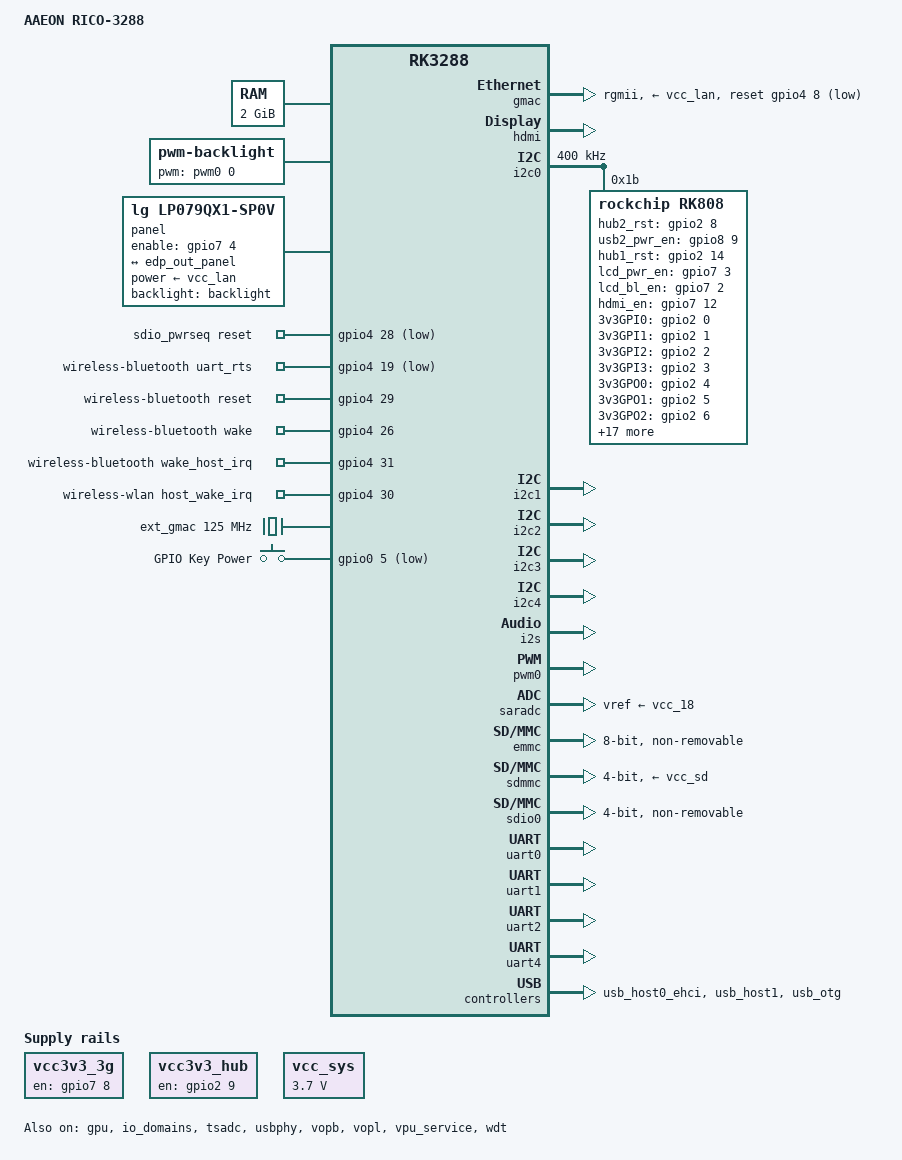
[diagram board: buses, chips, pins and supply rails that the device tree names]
/*
 * This file is dual-licensed: you can use it either under the terms
 * of the GPL or the X11 license, at your option. Note that this dual
 * licensing only applies to this file, and not this project as a
 * whole.
 *
 *  a) This file is free software; you can redistribute it and/or
 *     modify it under the terms of the GNU General Public License as
 *     published by the Free Software Foundation; either version 2 of the
 *     License, or (at your option) any later version.
 *
 *     This file is distributed in the hope that it will be useful,
 *     but WITHOUT ANY WARRANTY; without even the implied warranty of
 *     MERCHANTABILITY or FITNESS FOR A PARTICULAR PURPOSE.  See the
 *     GNU General Public License for more details.
 *
 * Or, alternatively,
 *
 *  b) Permission is hereby granted, free of charge, to any person
 *     obtaining a copy of this software and associated documentation
 *     files (the "Software"), to deal in the Software without
 *     restriction, including without limitation the rights to use,
 *     copy, modify, merge, publish, distribute, sublicense, and/or
 *     sell copies of the Software, and to permit persons to whom the
 *     Software is furnished to do so, subject to the following
 *     conditions:
 *
 *     The above copyright notice and this permission notice shall be
 *     included in all copies or substantial portions of the Software.
 *
 *     THE SOFTWARE IS PROVIDED "AS IS", WITHOUT WARRANTY OF ANY KIND,
 *     EXPRESS OR IMPLIED, INCLUDING BUT NOT LIMITED TO THE WARRANTIES
 *     OF MERCHANTABILITY, FITNESS FOR A PARTICULAR PURPOSE AND
 *     NONINFRINGEMENT. IN NO EVENT SHALL THE AUTHORS OR COPYRIGHT
 *     HOLDERS BE LIABLE FOR ANY CLAIM, DAMAGES OR OTHER LIABILITY,
 *     WHETHER IN AN ACTION OF CONTRACT, TORT OR OTHERWISE, ARISING
 *     FROM, OUT OF OR IN CONNECTION WITH THE SOFTWARE OR THE USE OR
 *     OTHER DEALINGS IN THE SOFTWARE.
 */

/dts-v1/;

#include <dt-bindings/clock/rockchip,rk808.h>
#include "rk3288.dtsi"
#include <dt-bindings/pwm/pwm.h>

/ {
	model = "AAEON RICO-3288";
	compatible = "rockchip,rk3288-fennec", "rockchip,rk3288";

	memory {
		reg = <0x0 0x0 0x0 0x80000000>;
		device_type = "memory";
	};

	backlight: backlight {
		compatible = "pwm-backlight";
		brightness-levels = <
			  0   1   2   3   4   5   6   7
			  8   9  10  11  12  13  14  15
			 16  17  18  19  20  21  22  23
			 24  25  26  27  28  29  30  31
			 32  33  34  35  36  37  38  39
			 40  41  42  43  44  45  46  47
			 48  49  50  51  52  53  54  55
			 56  57  58  59  60  61  62  63
			 64  65  66  67  68  69  70  71
			 72  73  74  75  76  77  78  79
			 80  81  82  83  84  85  86  87
			 88  89  90  91  92  93  94  95
			 96  97  98  99 100 101 102 103
			104 105 106 107 108 109 110 111
			112 113 114 115 116 117 118 119
			120 121 122 123 124 125 126 127
			128 129 130 131 132 133 134 135
			136 137 138 139 140 141 142 143
			144 145 146 147 148 149 150 151
			152 153 154 155 156 157 158 159
			160 161 162 163 164 165 166 167
			168 169 170 171 172 173 174 175
			176 177 178 179 180 181 182 183
			184 185 186 187 188 189 190 191
			192 193 194 195 196 197 198 199
			200 201 202 203 204 205 206 207
			208 209 210 211 212 213 214 215
			216 217 218 219 220 221 222 223
			224 225 226 227 228 229 230 231
			232 233 234 235 236 237 238 239
			240 241 242 243 244 245 246 247
			248 249 250 251 252 253 254 255>;
		default-brightness-level = <128>;
		//enable-gpios = <&gpio7 2 GPIO_ACTIVE_HIGH>;
		pinctrl-names = "default";
		pinctrl-0 = <&bl_en>;
		pwms = <&pwm0 0 1000000 PWM_POLARITY_INVERTED>;
	};

	panel: panel {
		compatible ="lg,lp079qx1-sp0v", "simple-panel";
		backlight = <&backlight>;
		enable-gpios = <&gpio7 4 GPIO_ACTIVE_HIGH>;
		pinctrl-0 = <&lcd_cs>;
		ports {
			panel_in: port {
				panel_in_edp: endpoint {
					remote-endpoint = <&edp_out_panel>;
				};
			};
		};
	};

	vcc3v3_3g: vcc3v3-3g-regulator {
		compatible = "regulator-fixed";
		enable-active-high;
		gpio = <&gpio7 8 GPIO_ACTIVE_HIGH>;
		pinctrl-names = "default";
		pinctrl-0 = <&pwr_3g>;
		regulator-name = "vcc3v3_3g";
		regulator-always-on;
	};

	vcc3v3_hub: vcc3v3-hub {
		compatible = "regulator-fixed";
		enable-active-high;
		gpio = <&gpio2 9 GPIO_ACTIVE_HIGH>;
		pinctrl-names = "default";
		pinctrl-0 = <&phy_pwr_en>;
		regulator-name = "vcc3v3_hub";
		regulator-always-on;
	};

	sdio_pwrseq: sdio-pwrseq {
		compatible = "mmc-pwrseq-simple";
		clocks = <&rk808 RK808_CLKOUT1>;
		clock-names = "ext_clock";
		pinctrl-names = "default";
		pinctrl-0 = <&wifi_enable_h>;

		/*
		 * On the module itself this is one of these (depending
		 * on the actual card populated):
		 * - SDIO_RESET_L_WL_REG_ON
		 * - PDN (power down when low)
		 */
		reset-gpios = <&gpio4 28 GPIO_ACTIVE_LOW>;
	};

	wireless-bluetooth {
		compatible = "bluetooth-platdata";
		uart_rts_gpios = <&gpio4 19 GPIO_ACTIVE_LOW>;
		pinctrl-names = "default", "rts_gpio";
		pinctrl-0 = <&uart0_rts>;
		pinctrl-1 = <&uart0_gpios>;
		BT,reset_gpio    = <&gpio4 29 GPIO_ACTIVE_HIGH>;
		BT,wake_gpio     = <&gpio4 26 GPIO_ACTIVE_HIGH>;
		BT,wake_host_irq = <&gpio4 31 GPIO_ACTIVE_HIGH>;
		status = "okay";
	};

	wireless-wlan {
		compatible = "wlan-platdata";
		rockchip,grf = <&grf>;
		wifi_chip_type = "ap6255";
		sdio_vref = <1800>;
		WIFI,host_wake_irq = <&gpio4 30 GPIO_ACTIVE_HIGH>;
		status = "okay";
	};

	ext_gmac: external-gmac-clock {
		compatible = "fixed-clock";
		clock-frequency = <125000000>;
		clock-output-names = "ext_gmac";
		#clock-cells = <0>;
	};

	usb_control {
		compatible = "rockchip,rk3288-usb-control";

		/*host_drv_gpio = <&gpio0 GPIO_B6 GPIO_ACTIVE_LOW>;*/

		rockchip,remote_wakeup;
		rockchip,usb_irq_wakeup;
	};

	gpio-keys {
		compatible = "gpio-keys";
		#address-cells = <1>;
		#size-cells = <0>;
		autorepeat;

		pinctrl-names = "default";
		pinctrl-0 = <&pwrbtn>;

		button@0 {
			gpios = <&gpio0 5 GPIO_ACTIVE_LOW>;
			linux,code = <116>;
			label = "GPIO Key Power";
			linux,input-type = <1>;
			gpio-key,wakeup = <1>;
			debounce-interval = <100>;
		};
	};

	gpio-dio {
		compatible = "gpio-keys";
		pinctrl-names = "default";
		pinctrl-0 = <&dio>;
	};

	hdmi_sound: hdmi-sound {
		compatible = "simple-audio-card";
		simple-audio-card,format = "i2s";
		simple-audio-card,mclk-fs = <256>;
		simple-audio-card,name = "rockchip,hdmi";
		simple-audio-card,cpu {
			sound-dai = <&i2s>;
		};
		simple-audio-card,codec {
			sound-dai = <&hdmi>;
		};
	};

	vcc_sys: vsys-regulator {
		compatible = "regulator-fixed";
		regulator-name = "vcc_sys";
		regulator-min-microvolt = <3700000>;
		regulator-max-microvolt = <3700000>;
		regulator-always-on;
		regulator-boot-on;
	};

};

&cpu0 {
	cpu0-supply = <&vdd_cpu>;
};

&gmac {
	assigned-clocks = <&cru SCLK_MAC>;
	assigned-clock-parents = <&ext_gmac>;
	clock_in_out = "input";
	pinctrl-names = "default";
	pinctrl-0 = <&rgmii_pins>, <&phy_rst>, <&phy_pmeb>, <&phy_int>;
	phy-supply = <&vcc_lan>;
	phy-mode = "rgmii";
	snps,reset-active-low;
	snps,reset-delays-us = <0 10000 1000000>;
	snps,reset-gpio = <&gpio4 8 GPIO_ACTIVE_LOW>;
	tx_delay = <0x30>;
	rx_delay = <0x10>;
	status = "okay";
};

&gpu {
	mali-supply = <&vdd_gpu>;
	status = "okay";
};

&hdmi {
	#address-cells = <1>;
	#size-cells = <0>;
	#sound-dai-cells = <0>;
	//ddc-i2c-bus = <&i2c5>;
	status = "okay";
};

&hdmi_in_vopl {
	status = "disabled";
};

&i2c0 {
	status = "okay";
	clock-frequency = <400000>;

	rk808: pmic@1b {
		compatible = "rockchip,rk808";
		reg = <0x1b>;
		interrupt-parent = <&gpio0>;
		interrupts = <4 IRQ_TYPE_LEVEL_LOW>;
		#clock-cells = <1>;
		clock-output-names = "xin32k", "rk808-clkout2";
		pinctrl-names = "default";
		pinctrl-0 = <&pmic_int &global_pwroff>;
		rockchip,system-power-controller;
		wakeup-source;

		vcc1-supply = <&vcc_sys>;
		vcc2-supply = <&vcc_sys>;
		vcc3-supply = <&vcc_sys>;
		vcc4-supply = <&vcc_sys>;
		vcc6-supply = <&vcc_sys>;
		vcc7-supply = <&vcc_sys>;
		vcc8-supply = <&vcc_io>;
		vcc9-supply = <&vcc_sys>;
		vcc10-supply = <&vcc_sys>;
		vcc11-supply = <&vcc_sys>;
		vcc12-supply = <&vcc_io>;
		vddio-supply = <&vcc_io>;

		regulators {
			vdd_cpu: DCDC_REG1 {
				regulator-always-on;
				regulator-boot-on;
				regulator-min-microvolt = <750000>;
				regulator-max-microvolt = <1350000>;
				regulator-name = "vdd_arm";
				regulator-state-mem {
					regulator-off-in-suspend;
				};
			};

			vdd_gpu: DCDC_REG2 {
				regulator-always-on;
				regulator-boot-on;
				regulator-min-microvolt = <850000>;
				regulator-max-microvolt = <1250000>;
				regulator-name = "vdd_gpu";
				regulator-ramp-delay = <6000>;
				regulator-state-mem {
					regulator-on-in-suspend;
					regulator-suspend-microvolt = <1000000>;
				};
			};

			vcc_ddr: DCDC_REG3 {
				regulator-always-on;
				regulator-boot-on;
				regulator-name = "vcc_ddr";
				regulator-state-mem {
					regulator-on-in-suspend;
				};
			};

			vcc_io: DCDC_REG4 {
				regulator-always-on;
				regulator-boot-on;
				regulator-min-microvolt = <3300000>;
				regulator-max-microvolt = <3300000>;
				regulator-name = "vcc_io";
				regulator-state-mem {
					regulator-on-in-suspend;
					regulator-suspend-microvolt = <3300000>;
				};
			};

			vcca_tp: LDO_REG1 {
				regulator-always-on;
				regulator-boot-on;
				regulator-min-microvolt = <3300000>;
				regulator-max-microvolt = <3300000>;
				regulator-name = "vcc_tp";
				regulator-state-mem {
					regulator-on-in-suspend;
					regulator-suspend-microvolt = <3300000>;
				};
			};

			vcc_codec: LDO_REG2 {
				regulator-always-on;
				regulator-boot-on;
				regulator-min-microvolt = <3300000>;
				regulator-max-microvolt = <3300000>;
				regulator-name = "vcc_codec";
				regulator-state-mem {
					regulator-off-in-suspend;
				};
			};

			vdd_10: LDO_REG3 {
				regulator-always-on;
				regulator-boot-on;
				regulator-min-microvolt = <1000000>;
				regulator-max-microvolt = <1000000>;
				regulator-name = "vdd_10";
				regulator-state-mem {
					regulator-on-in-suspend;
					regulator-suspend-microvolt = <1000000>;
				};
			};

			vcc_gps: LDO_REG4 {
				regulator-always-on;
				regulator-boot-on;
				regulator-min-microvolt = <3300000>;
				regulator-max-microvolt = <3300000>;
				regulator-name = "vcc_gps";
				regulator-state-mem {
					regulator-on-in-suspend;
					regulator-suspend-microvolt = <3300000>;
				};
			};

			vccio_sd: LDO_REG5 {
				regulator-always-on;
				regulator-boot-on;
				regulator-min-microvolt = <3300000>;
				regulator-max-microvolt = <3300000>;
				regulator-name = "vccio_sd";
				regulator-state-mem {
					regulator-on-in-suspend;
					regulator-suspend-microvolt = <3300000>;
				};
			};

			vdd10_lcd: LDO_REG6 {
				regulator-always-on;
				regulator-boot-on;
				regulator-min-microvolt = <1000000>;
				regulator-max-microvolt = <1000000>;
				regulator-name = "vdd10_lcd";
				regulator-state-mem {
					regulator-on-in-suspend;
					regulator-suspend-microvolt = <1000000>;
				};
			};

			vcc_18: LDO_REG7 {
				regulator-always-on;
				regulator-boot-on;
				regulator-min-microvolt = <1800000>;
				regulator-max-microvolt = <1800000>;
				regulator-name = "vcc_18";
				regulator-state-mem {
					regulator-on-in-suspend;
					regulator-suspend-microvolt = <1800000>;
				};
			};

			vcc18_lcd: LDO_REG8 {
				regulator-always-on;
				regulator-boot-on;
				regulator-min-microvolt = <1800000>;
				regulator-max-microvolt = <1800000>;
				regulator-name = "vcc18_lcd";
				regulator-state-mem {
					regulator-on-in-suspend;
					regulator-suspend-microvolt = <1800000>;
				};
			};

			vcc_sd: SWITCH_REG1 {
				regulator-always-on;
				regulator-boot-on;
				regulator-name = "vcc_sd";
				regulator-state-mem {
					regulator-on-in-suspend;
				};
			};

			vcc_lan: SWITCH_REG2 {
				regulator-always-on;
				regulator-boot-on;
				regulator-name = "vcc_lan";
				regulator-state-mem {
					regulator-on-in-suspend;
				};
			};
		};
	};
};

&i2c1 {
	status = "okay";
};

&i2c2 {
	status = "okay";
};

&i2c3 {
	status = "okay";
};

&i2c4 {
	status = "okay";
};

&i2s {
	#sound-dai-cells = <0>;
	status = "okay";
};

&io_domains {
	status = "okay";
	gpio30-supply = <&vcc_io>;
	sdcard-supply = <&vccio_sd>;
	wifi-supply = <&vcc_18>;
};

&pwm0 {
	status = "okay";
};

&saradc {
	vref-supply = <&vcc_18>;
	status ="okay";
};

&emmc {
	bus-width = <8>;
	cap-mmc-highspeed;
	disable-wp;
	non-removable;
	num-slots = <1>;
	pinctrl-names = "default";
	pinctrl-0 = <&emmc_clk &emmc_cmd &emmc_pwr &emmc_bus8>;
	status = "okay";
};

&sdmmc {
	bus-width = <4>;
	cap-mmc-highspeed;
	cap-sd-highspeed;
	card-detect-delay = <200>;
	disable-wp;			/* wp not hooked up */
	num-slots = <1>;
	pinctrl-names = "default";
	pinctrl-0 = <&sdmmc_clk &sdmmc_cmd &sdmmc_cd &sdmmc_bus4>;
	status = "okay";
	supports-sd;
	vmmc-supply = <&vcc_sd>;
	vqmmc-supply = <&vccio_sd>;
};

&tsadc {
	rockchip,hw-tshut-mode = <1>; /* tshut mode 0:CRU 1:GPIO */
	rockchip,hw-tshut-polarity = <1>; /* tshut polarity 0:LOW 1:HIGH */
	status = "okay";
};

&edp_phy {
	status = "disabled";
};

&edp {
	force-hpd;
	status = "disabled";

	ports {
		edp_out: port@1 {
			reg = <1>;
			#address-cells = <1>;
			#size-cells = <0>;
			edp_out_panel: endpoint {
				reg = <0>;
				remote-endpoint = <&panel_in_edp>;
			};
		};
	};
};

&sdio0 {
	status = "okay";
	clock-frequency = <50000000>;
	clock-freq-min-max = <200000 50000000>;
	bus-width = <4>;
	cap-sd-highspeed;
	cap-sdio-irq;
	disable-wp;
	keep-power-in-suspend;
	mmc-pwrseq = <&sdio_pwrseq>;
	non-removable;
	num-slots = <1>;
	pinctrl-names = "default";
	pinctrl-0 = <&sdio0_bus4 &sdio0_cmd &sdio0_clk>;
	sd-uhs-sdr104;
	supports-sdio;
};

&uart0 {
	status = "okay";
	dma-names = "!tx", "!rx";
	pinctrl-names = "default";
        pinctrl-0 = <&uart0_xfer &uart0_cts>;
};

&uart1 {
	pinctrl-names = "default";
	pinctrl-0 = <&uart1_xfer &uart1_cts &uart1_rts>;
	status = "okay";
};

&uart2 {
	status = "okay";
};

&uart4 {
	status = "okay";
};

&usbphy {
	status = "okay";
};

&usb_host0_ehci {
	status = "okay";
};

&usb_host1 {
	status = "okay";
};

&usb_otg {
	status= "okay";
};

&vopb {
	status = "okay";
};

&vopb_mmu {
	status = "okay";
};

&vopl {
	status = "okay";
};

&vopl_mmu {
	status = "okay";
};

&vpu_service {
	status = "okay";
};

&wdt {
	status = "okay";
};

/include/ "rk808.dtsi"
&rk808 {
	hub2_rst = <&gpio2 8 GPIO_ACTIVE_HIGH>;
	usb2_pwr_en = <&gpio8 9 GPIO_ACTIVE_HIGH>;
	hub1_rst = <&gpio2 14 GPIO_ACTIVE_HIGH>;
	lcd_pwr_en = <&gpio7 3 GPIO_ACTIVE_HIGH>;
	lcd_bl_en = <&gpio7 2 GPIO_ACTIVE_HIGH>;
	hdmi_en = <&gpio7 12 GPIO_ACTIVE_HIGH>;
	3v3GPI0 = <&gpio2 0 GPIO_ACTIVE_HIGH>;
	3v3GPI1 = <&gpio2 1 GPIO_ACTIVE_HIGH>;
	3v3GPI2 = <&gpio2 2 GPIO_ACTIVE_HIGH>;
	3v3GPI3 = <&gpio2 3 GPIO_ACTIVE_HIGH>;
	3v3GPO0 = <&gpio2 4 GPIO_ACTIVE_HIGH>;
	3v3GPO1 = <&gpio2 5 GPIO_ACTIVE_HIGH>;
	3v3GPO2 = <&gpio2 6 GPIO_ACTIVE_HIGH>;
	3v3GPO3 = <&gpio2 7 GPIO_ACTIVE_HIGH>;
	uart_mode1 = <&gpio8 7 GPIO_ACTIVE_HIGH>;
	uart_mode2 = <&gpio8 6 GPIO_ACTIVE_HIGH>;

};

&panel {
	power-supply = <&vcc_lan>;
};

&pinctrl {
	pcfg_output_high: pcfg-output-high {
		output-high;
	};

	pcfg_output_low: pcfg-output-low {
		output-low;
	};

	pcfg_pull_none_drv_8ma: pcfg-pull-none-drv-8ma {
		drive-strength = <8>;
	};

	pcfg_pull_up_drv_8ma: pcfg-pull-up-drv-8ma {
		bias-pull-up;
		drive-strength = <8>;
	};

	backlight {
		bl_en: bl-en {
			rockchip,pins = <7 2 RK_FUNC_GPIO &pcfg_pull_none>;
		};
	};

	buttons {
		pwrbtn: pwrbtn {
			rockchip,pins = <0 5 RK_FUNC_GPIO &pcfg_pull_up>;
		};
	};

	gmac {
		phy_int: phy-int {
			rockchip,pins = <0 9 RK_FUNC_GPIO &pcfg_pull_up>;
		};

		phy_pmeb: phy-pmeb {
			rockchip,pins = <0 6 RK_FUNC_GPIO &pcfg_pull_up>;
		};

		phy_rst: phy-rst {
			rockchip,pins = <4 8 RK_FUNC_GPIO &pcfg_output_high>;
		};
	};

	pmic {
		pmic_int: pmic-int {
			rockchip,pins = <RK_GPIO0 4 RK_FUNC_GPIO &pcfg_pull_up>;
		};
	};

	sdio-pwrseq {
		wifi_enable_h: wifi-enable-h {
			rockchip,pins = <4 28 RK_FUNC_GPIO &pcfg_pull_none>;
		};
	};

	sdmmc {
		sdmmc_bus4: sdmmc-bus4 {
			rockchip,pins = <6 16 RK_FUNC_1 &pcfg_pull_up_drv_8ma>,
					<6 17 RK_FUNC_1 &pcfg_pull_up_drv_8ma>,
					<6 18 RK_FUNC_1 &pcfg_pull_up_drv_8ma>,
					<6 19 RK_FUNC_1 &pcfg_pull_up_drv_8ma>;
		};

		sdmmc_clk: sdmmc-clk {
			rockchip,pins = <6 20 RK_FUNC_1 &pcfg_pull_none_drv_8ma>;
		};

		sdmmc_cmd: sdmmc-cmd {
			rockchip,pins = <6 21 RK_FUNC_1 &pcfg_pull_up_drv_8ma>;
		};

		sdmmc_pwr: sdmmc-pwr {
			rockchip,pins = <7 11 RK_FUNC_GPIO &pcfg_pull_none>;
		};
	};

	usb_otg {
		otg_drv: otg-drv {
			rockchip,pins = <0 12 RK_FUNC_GPIO &pcfg_pull_none>;
		};
	};

	lcd {
		lcd_cs: lcd-cs {
			rockchip,pins = <7 4 RK_FUNC_GPIO &pcfg_pull_none>;
		};
	};

	usb {
		pwr_3g: pwr-3g {
			rockchip,pins = <7 8 RK_FUNC_GPIO &pcfg_pull_none>;
		};

		phy_pwr_en: phy-pwr-en {
			rockchip,pins = <2 9 RK_FUNC_GPIO &pcfg_pull_none>;
		};
	};

	wireless-bluetooth {
		uart0_gpios: uart0-gpios {
			rockchip,pins = <4 19 RK_FUNC_GPIO &pcfg_pull_none>;
		};
	};

	gpio {
		dio: dio {
			rockchip,pins = <2 0 RK_FUNC_GPIO &pcfg_pull_none>,
					<2 1 RK_FUNC_GPIO &pcfg_pull_none>,
					<2 2 RK_FUNC_GPIO &pcfg_pull_none>,
					<2 3 RK_FUNC_GPIO &pcfg_pull_none>,
					<2 4 RK_FUNC_GPIO &pcfg_pull_none>,
					<2 5 RK_FUNC_GPIO &pcfg_pull_none>,
					<2 6 RK_FUNC_GPIO &pcfg_pull_none>,
					<2 7 RK_FUNC_GPIO &pcfg_pull_none>;
		};

	};
};
